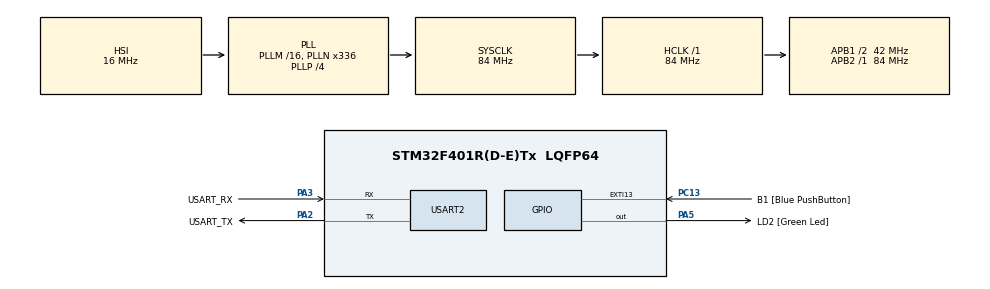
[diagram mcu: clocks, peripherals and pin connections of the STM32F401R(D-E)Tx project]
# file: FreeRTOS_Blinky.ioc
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FREERTOS.Tasks01=defaultTask,24,128,StartDefaultTask,Default,NULL,Dynamic,NULL,NULL
FREERTOS.configUSE_NEWLIB_REENTRANT=1
Mcu.Family=STM32F4
Mcu.Name=STM32F401R(D-E)Tx
Mcu.Package=LQFP64
NVIC.PriorityGroup=NVIC_PRIORITYGROUP_4
NVIC.TIM1_UP_TIM10_IRQn=true\:15\:0\:false\:false\:true\:false\:false\:true\:true
NVIC.TimeBase=TIM1_UP_TIM10_IRQn
NVIC.TimeBaseIP=TIM1
PA13.GPIO_Label=TMS
PA13.Mode=Serial_Wire
PA13.Signal=SYS_JTMS-SWDIO
PA14.GPIO_Label=TCK
PA14.Mode=Serial_Wire
PA14.Signal=SYS_JTCK-SWCLK
PA2.GPIO_Label=USART_TX
PA2.GPIO_Mode=GPIO_MODE_AF_PP
PA2.GPIO_PuPd=GPIO_NOPULL
PA2.GPIO_Speed=GPIO_SPEED_FREQ_LOW
PA2.Mode=Asynchronous
PA2.Signal=USART2_TX
PA3.GPIO_Label=USART_RX
PA3.GPIO_Mode=GPIO_MODE_AF_PP
PA3.GPIO_PuPd=GPIO_NOPULL
PA3.GPIO_Speed=GPIO_SPEED_FREQ_LOW
PA3.Mode=Asynchronous
PA3.Signal=USART2_RX
PA5.GPIO_Label=LD2 [Green Led]
PA5.GPIO_Mode=GPIO_MODE_OUTPUT_PP
PA5.GPIO_PuPd=GPIO_NOPULL
PA5.GPIO_Speed=GPIO_SPEED_FREQ_LOW
PA5.Signal=GPIO_Output
PB3.GPIO_Label=SWO
PB3.Signal=SYS_JTDO-SWO
PC13-ANTI_TAMP.GPIO_Label=B1 [Blue PushButton]
PC13-ANTI_TAMP.GPIO_ModeDefaultEXTI=GPIO_MODE_IT_FALLING
PC13-ANTI_TAMP.GPIO_PuPd=GPIO_NOPULL
PC13-ANTI_TAMP.Signal=GPXTI13
PC14-OSC32_IN.Mode=LSE-External-Oscillator
PC14-OSC32_IN.Signal=RCC_OSC32_IN
PC15-OSC32_OUT.Mode=LSE-External-Oscillator
PC15-OSC32_OUT.Signal=RCC_OSC32_OUT
PH0\ -\ OSC_IN.Mode=HSE-External-Clock-Source
PH0\ -\ OSC_IN.Signal=RCC_OSC_IN
PH1\ -\ OSC_OUT.Mode=HSE-External-Clock-Source
PH1\ -\ OSC_OUT.Signal=RCC_OSC_OUT
ProjectManager.HeapSize=0x200
ProjectManager.StackSize=0x400
ProjectManager.TargetToolchain=STM32CubeIDE
RCC.48MHZClocksFreq_Value=48000000
RCC.AHBFreq_Value=84000000
RCC.APB1CLKDivider=RCC_HCLK_DIV2
RCC.APB1Freq_Value=42000000
RCC.APB1TimFreq_Value=84000000
RCC.APB2Freq_Value=84000000
RCC.APB2TimFreq_Value=84000000
RCC.CortexFreq_Value=84000000
RCC.HCLKFreq_Value=84000000
RCC.HSE_VALUE=8000000
RCC.HSI_VALUE=16000000
RCC.PLLN=336
RCC.PLLP=RCC_PLLP_DIV4
RCC.PLLQ=7
RCC.SYSCLKFreq_VALUE=84000000
RCC.SYSCLKSource=RCC_SYSCLKSOURCE_PLLCLK
RCC.VCOOutputFreq_Value=336000000
USART2.VirtualMode=VM_ASYNC
VP_FREERTOS_VS_CMSIS_V2.Mode=CMSIS_V2
VP_SYS_VS_tim1.Mode=TIM1
board=NUCLEO-F401RE

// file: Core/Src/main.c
/* USER CODE BEGIN Header */
/**
  ******************************************************************************
  * @file           : main.c
  * @brief          : Main program body
  ******************************************************************************
  * @attention
  *
  * Copyright (c) 2024 STMicroelectronics.
  * All rights reserved.
  *
  * This software is licensed under terms that can be found in the LICENSE file
  * in the root directory of this software component.
  * If no LICENSE file comes with this software, it is provided AS-IS.
  *
  ******************************************************************************
  */
/* USER CODE END Header */
#include "main.h"
#include "cmsis_os.h"

/* USER CODE BEGIN Includes */
#include "task.h"
#include "queue.h"
/* USER CODE END Includes */

/* USER CODE BEGIN PTD */
typedef struct {
	GPIO_TypeDef *led_gpio_port;
	uint16_t led_gpio_pin;
	uint32_t tiempo;
} task_param_t;

/* USER CODE END PTD */

UART_HandleTypeDef huart2;

/* Definitions for defaultTask */
osThreadId_t defaultTaskHandle;
const osThreadAttr_t defaultTask_attributes = {
  .name = "defaultTask",
  .stack_size = 128 * 4,
  .priority = (osPriority_t) osPriorityNormal,
};

void SystemClock_Config(void);
static void MX_GPIO_Init(void);
static void MX_USART2_UART_Init(void);
void StartDefaultTask(void *argument);

/* USER CODE BEGIN 0 */
xQueueHandle cola_tiempo;

void tarea_puslador(void *p)
{
	TickType_t tics;

	while(1)
	{
		if(HAL_GPIO_ReadPin(B1_GPIO_Port, B1_Pin) == GPIO_PIN_RESET)
		{
			tics = xTaskGetTickCount();
			while(HAL_GPIO_ReadPin(B1_GPIO_Port, B1_Pin) == GPIO_PIN_RESET)
			{
				vTaskDelay(1);
			}
			tics = xTaskGetTickCount();
			if(tics > 10000) tics = 10000;
			if(tics > 50)
			{
				xQueueSend(cola_tiempo, &tics, 0);
			}
		}
		vTaskDelay(1);
	}
}

void tarea_led(void *p)
{
	TickType_t demora = 500;
	TickType_t valor;

	while(1)
	{
		if(xQueueReceive(cola_tiempo, &valor, 0) == pdPASS)
		{
			demora = valor;
		}
		HAL_GPIO_TogglePin(LD2_GPIO_Port, LD2_Pin);
		vTaskDelay(demora);
	}
}

/* USER CODE END 0 */

int main(void)
{

  /* MCU Configuration--------------------------------------------------------*/

  /* Reset of all peripherals, Initializes the Flash interface and the Systick. */
  HAL_Init();

  /* Configure the system clock */
  SystemClock_Config();

  /* Initialize all configured peripherals */
  MX_GPIO_Init();
  MX_USART2_UART_Init();

  /* Init scheduler */
  osKernelInitialize();

  /* Create the thread(s) */
  /* creation of defaultTask */
  defaultTaskHandle = osThreadNew(StartDefaultTask, NULL, &defaultTask_attributes);

  /* USER CODE BEGIN RTOS_THREADS */
  /* add threads, ... */
  cola_tiempo = xQueueCreate(4, sizeof(TickType_t));
  xTaskCreate(tarea_led, "led", configMINIMAL_STACK_SIZE, NULL, osPriorityNormal, NULL);
  xTaskCreate(tarea_puslador, "btn", configMINIMAL_STACK_SIZE, NULL, osPriorityNormal, NULL);
  /* USER CODE END RTOS_THREADS */

  /* Start scheduler */
  osKernelStart();

  /* We should never get here as control is now taken by the scheduler */

  /* Infinite loop */
  while (1)
  {

  }
}

void SystemClock_Config(void)
{
  RCC_OscInitTypeDef RCC_OscInitStruct = {0};
  RCC_ClkInitTypeDef RCC_ClkInitStruct = {0};

  /** Configure the main internal regulator output voltage
  */
  __HAL_RCC_PWR_CLK_ENABLE();
  __HAL_PWR_VOLTAGESCALING_CONFIG(PWR_REGULATOR_VOLTAGE_SCALE2);

  /** Initializes the RCC Oscillators according to the specified parameters
  * in the RCC_OscInitTypeDef structure.
  */
  RCC_OscInitStruct.OscillatorType = RCC_OSCILLATORTYPE_HSI;
  RCC_OscInitStruct.HSIState = RCC_HSI_ON;
  RCC_OscInitStruct.HSICalibrationValue = RCC_HSICALIBRATION_DEFAULT;
  RCC_OscInitStruct.PLL.PLLState = RCC_PLL_ON;
  RCC_OscInitStruct.PLL.PLLSource = RCC_PLLSOURCE_HSI;
  RCC_OscInitStruct.PLL.PLLM = 16;
  RCC_OscInitStruct.PLL.PLLN = 336;
  RCC_OscInitStruct.PLL.PLLP = RCC_PLLP_DIV4;
  RCC_OscInitStruct.PLL.PLLQ = 7;
  if (HAL_RCC_OscConfig(&RCC_OscInitStruct) != HAL_OK)
  {
    Error_Handler();
  }

  /** Initializes the CPU, AHB and APB buses clocks
  */
  RCC_ClkInitStruct.ClockType = RCC_CLOCKTYPE_HCLK|RCC_CLOCKTYPE_SYSCLK
                              |RCC_CLOCKTYPE_PCLK1|RCC_CLOCKTYPE_PCLK2;
  RCC_ClkInitStruct.SYSCLKSource = RCC_SYSCLKSOURCE_PLLCLK;
  RCC_ClkInitStruct.AHBCLKDivider = RCC_SYSCLK_DIV1;
  RCC_ClkInitStruct.APB1CLKDivider = RCC_HCLK_DIV2;
  RCC_ClkInitStruct.APB2CLKDivider = RCC_HCLK_DIV1;

  if (HAL_RCC_ClockConfig(&RCC_ClkInitStruct, FLASH_LATENCY_2) != HAL_OK)
  {
    Error_Handler();
  }
}

static void MX_USART2_UART_Init(void)
{

  huart2.Instance = USART2;
  huart2.Init.BaudRate = 115200;
  huart2.Init.WordLength = UART_WORDLENGTH_8B;
  huart2.Init.StopBits = UART_STOPBITS_1;
  huart2.Init.Parity = UART_PARITY_NONE;
  huart2.Init.Mode = UART_MODE_TX_RX;
  huart2.Init.HwFlowCtl = UART_HWCONTROL_NONE;
  huart2.Init.OverSampling = UART_OVERSAMPLING_16;
  if (HAL_UART_Init(&huart2) != HAL_OK)
  {
    Error_Handler();
  }

}

static void MX_GPIO_Init(void)
{
  GPIO_InitTypeDef GPIO_InitStruct = {0};

  /* GPIO Ports Clock Enable */
  __HAL_RCC_GPIOC_CLK_ENABLE();
  __HAL_RCC_GPIOH_CLK_ENABLE();
  __HAL_RCC_GPIOA_CLK_ENABLE();
  __HAL_RCC_GPIOB_CLK_ENABLE();

  /*Configure GPIO pin Output Level */
  HAL_GPIO_WritePin(LD2_GPIO_Port, LD2_Pin, GPIO_PIN_RESET);

  /*Configure GPIO pin : B1_Pin */
  GPIO_InitStruct.Pin = B1_Pin;
  GPIO_InitStruct.Mode = GPIO_MODE_IT_FALLING;
  GPIO_InitStruct.Pull = GPIO_NOPULL;
  HAL_GPIO_Init(B1_GPIO_Port, &GPIO_InitStruct);

  /*Configure GPIO pin : GPIOA - GPIO_PIN_5 */
  GPIO_InitStruct.Pin = LD2_Pin;
  GPIO_InitStruct.Mode = GPIO_MODE_OUTPUT_PP;
  GPIO_InitStruct.Pull = GPIO_NOPULL;
  GPIO_InitStruct.Speed = GPIO_SPEED_FREQ_LOW;
  HAL_GPIO_Init(LD2_GPIO_Port, &GPIO_InitStruct);

}

void StartDefaultTask(void *argument)
{
  /* USER CODE BEGIN 5 */
  /* Infinite loop */
  for(;;)
  {
    osDelay(1000);
  }
  /* USER CODE END 5 */
}

void HAL_TIM_PeriodElapsedCallback(TIM_HandleTypeDef *htim)
{
  if (htim->Instance == TIM1) {
    HAL_IncTick();
  }
}

void Error_Handler(void)
{
  __disable_irq();
  while (1)
  {
  }
}
